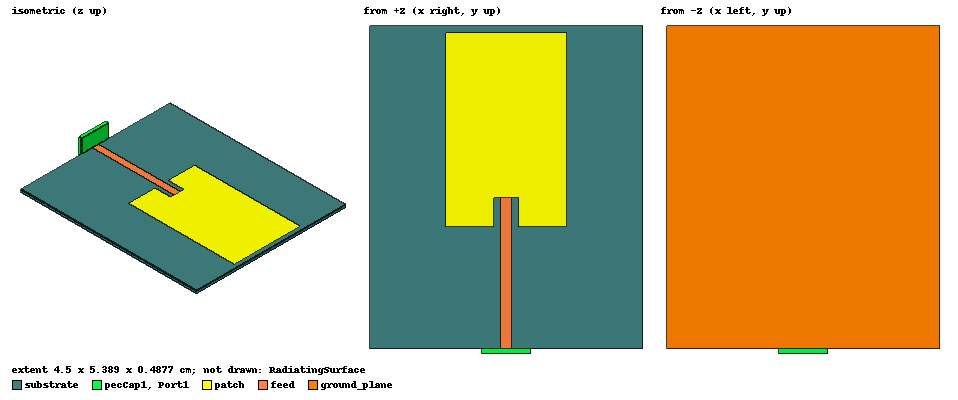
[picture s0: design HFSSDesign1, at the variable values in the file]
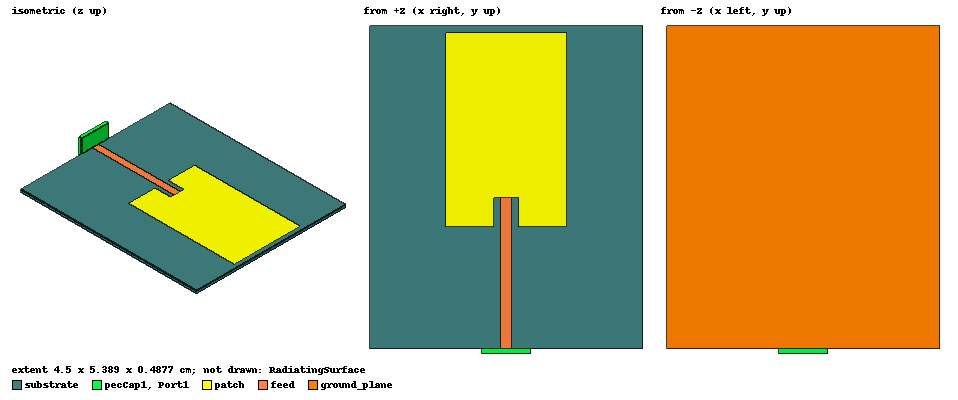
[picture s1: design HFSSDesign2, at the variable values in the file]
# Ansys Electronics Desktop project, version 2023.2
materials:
  vacuum: permittivity=1
  Rogers RO4003 (tm): permittivity=3.55 dielectric_loss_tangent=0.0027
  copper: permeability=0.999991 conductivity=58000000
  pec: conductivity=1e+30

design HFSSDesign1 (HFSS, HFSS Terminal Network, model units cm)
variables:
  sub_w = lambda*0.75
  sub_length = (lambda/3)+p_y+a
  lambda = 2362.205mil
  mlin_width = 71.874803mil
  p_w = 19.88mm
  p_y = 31.806464mm  # optimise 300mil..900mil; tune 15.91mm..47.73mm
  inset_length = 184.84313mil  # optimise 93.5mil..280.5mil; tune 93.5mil..280.5mil
  inset_width = 2.1972535
  a = 1.18mm  # optimise 0.59mm..1.77mm
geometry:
  substrate [Rogers RO4003 (tm)] = box(corner=(0cm, 0cm, 0cm), size=(sub_w, sub_length, 0.08128cm))
  ground_plane = rectangle(corner=(0cm, 0cm, 0cm), x_size=sub_w, y_size=sub_length)
  feed [copper] = box(corner=((sub_w/2) - (mlin_width/2), 0cm, 0.08128cm), size=(mlin_width, (inset_length+lambda/3), 17um))
  patch [copper] = box(corner=((sub_w/2) - (p_w/2), (lambda/3), 0.08128cm), size=(p_w, p_y, 17um))
  Port1 = rectangle(corner=((sub_w/2)-(5*32mil), 0cm, 0cm), z_size=6*32mil, x_size=10*32mil)
  RadiatingSurface [vacuum] = region(absolute_offset: +X=2cm, -X=2cm, +Y=2cm, -Y=2cm, +Z=2cm, -Z=0)
  pecCap1 [pec] = sweep_along_normal(Port1.face(at (2.25, 0, 0.24384)), length=-0.09cm)
  inset = box(corner=((sub_w/2) - (mlin_width*inset_width/2), lambda/3, 0.08128cm), size=(mlin_width*inset_width, inset_length, 17um))
  patch.subtract(inset)
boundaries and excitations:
  PerfE1: Perfect E Objects=ground_plane
  Open1: Radiation Faces=RadiatingSurface.face(+z, -y, -x, +y, +x)
  Open_InfiniteGnd1: Perfect E Faces=RadiatingSurface.face(-z) InfGroundPlane
  1: Wave Port Objects=Port1 WavePortType=Modal NumModes=1 Modes{Mode1{CharImp=Zpi}}
  reference conductors: ground_plane
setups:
  Setup1: HfssDriven Frequency=5GHz MaxDeltaS=0.02 MaximumPasses=18 MinimumPasses=1 MinimumConvergedPasses=1 PercentRefinement=30 BasisOrder=1 PortAccuracy=2 DrivenSolverType="Direct Solver"
    sweep Sweep: 4GHz to 6GHz, 1600 points; Type=Fast SaveFields
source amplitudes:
  1:1: 1V 0deg
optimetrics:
  ParametricSetup1: Parametric Sim._Setups=[Setup1]
    sweep inset_width: LIN 1.2 3.6 5
    sweep inset_length: LIN 300mil 900mil 5mil
    sweep p_y: LIN 300mm 900mm 5mm
  OptimizationSetup1: Optimization Optimizer="kDX ASO" AnalysisStopOptions{StopForNumIteration MaxNumIteration=48 MinNumIteration=10} CostFuncNormType=L2 Acceptable_Cost=0 Noise=0.0001 UpdateDesignWhenDone
    vary inset_length: Min=175mil Max=190mil MinStep=1.87mil MaxStep=18.7mil MinFocus=93.5mil MaxFocus=280.5mil start=187mil
    vary p_y: Min=29mm Max=32mm MinStep=6mil MaxStep=60mil MinFocus=300mil MaxFocus=900mil start=31.82mm
    goal dB(St(1,1)) <= -20 weight 1 on Setup1 : Sweep at Freq 4.95GHz to 5.05GHz
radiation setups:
  3D: Infinite Sphere Theta=0deg..180deg step 2deg Phi=-180deg..180deg step 2deg
  Elevation: Infinite Sphere Theta=-180deg..180deg step 1deg Phi=0deg..90deg step 90deg
  Azimuth: Infinite Sphere Theta=90deg..90deg step 0deg Phi=-180deg..180deg step 1deg
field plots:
  Mag_E1: E Field over patch.face(+z, -z, -x, +y, +x) on Setup1 : LastAdaptive at Freq=5GHz Phase=0deg
  Mag_E2: E Field over feed.face(all 6) on Setup1 : LastAdaptive at Freq=5GHz Phase=0deg
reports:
  Terminal S Parameter Plot 1: dB(St(1,1)) vs Freq on Setup1 : Sweep; markers m1 at 4.9981238GHz, MY1 at y=-10
  Gain Plot 1: dB10normalize(GainPhi) vs Phi, Theta on Setup1 : LastAdaptive, 3D [Freq=5GHz]
  Antenna Params Table 1: PeakGain, TotalEfficiency, RadiationEfficiency, dB(PeakDirectivity) vs Freq on Setup1 : LastAdaptive

design HFSSDesign2 (HFSS, HFSS Terminal Network, model units cm)
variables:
  sub_w = lambda*0.75
  sub_length = (lambda/3)+p_y+a
  lambda = 2362.205mil
  mlin_width = 71.874803mil
  p_w = 19.88mm
  p_y = 31.806464mm  # optimise 300mil..900mil; tune 15.91mm..47.73mm
  inset_length = 184.84313mil  # optimise 93.5mil..280.5mil; tune 93.5mil..280.5mil
  inset_width = 2.1972535
  a = 1.18mm  # optimise 0.59mm..1.77mm
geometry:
  substrate [Rogers RO4003 (tm)] = box(corner=(0cm, 0cm, 0cm), size=(sub_w, sub_length, 0.08128cm))
  ground_plane = rectangle(corner=(0cm, 0cm, 0cm), x_size=sub_w, y_size=sub_length)
  feed [copper] = box(corner=((sub_w/2) - (mlin_width/2), 0cm, 0.08128cm), size=(mlin_width, inset_length+lambda/3, 17um))
  patch [copper] = box(corner=((sub_w/2) - (p_w/2), (lambda/3), 0.08128cm), size=(p_w, p_y, 17um))
  Port1 = rectangle(corner=((sub_w/2)-(5*32mil), 0cm, 0cm), z_size=6*32mil, x_size=10*32mil)
  RadiatingSurface [vacuum] = region(absolute_offset: +X=2cm, -X=2cm, +Y=2cm, -Y=2cm, +Z=2cm, -Z=0)
  pecCap1 [pec] = sweep_along_normal(Port1.face(at (2.25, 0, 0.24384)), length=-0.09cm)
  inset = box(corner=((sub_w/2) - (mlin_width*inset_width/2), lambda/3, 0.08128cm), size=(mlin_width*inset_width, inset_length, 17um))
  patch.subtract(inset)
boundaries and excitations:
  PerfE1: Perfect E Objects=ground_plane
  Open1: Radiation Faces=RadiatingSurface.face(+z, -y, -x, +y, +x)
  Open_InfiniteGnd1: Perfect E Faces=RadiatingSurface.face(-z) InfGroundPlane
  1: Wave Port Objects=Port1 WavePortType=Modal NumModes=1 Modes{Mode1{CharImp=Zpi}}
  reference conductors: ground_plane
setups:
  Setup1: HfssDriven Frequency=5GHz MaxDeltaS=0.02 MaximumPasses=18 MinimumPasses=1 MinimumConvergedPasses=1 PercentRefinement=30 BasisOrder=1 PortAccuracy=2 DrivenSolverType="Direct Solver"
    sweep Sweep: 4GHz to 6GHz, 1600 points; Type=Fast SaveFields
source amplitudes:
  1:1: 1V 0deg
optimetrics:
  ParametricSetup1: Parametric Sim._Setups=[Setup1]
    sweep inset_width: LIN 1.2 3.6 5
    sweep inset_length: LIN 300mil 900mil 5mil
    sweep p_y: LIN 300mm 900mm 5mm
  OptimizationSetup1: Optimization Optimizer="kDX ASO" AnalysisStopOptions{StopForNumIteration MaxNumIteration=48 MinNumIteration=10} CostFuncNormType=L2 Acceptable_Cost=0 Noise=0.0001 UpdateDesignWhenDone
    vary inset_length: Min=175mil Max=190mil MinStep=1.87mil MaxStep=18.7mil MinFocus=93.5mil MaxFocus=280.5mil start=187mil
    vary p_y: Min=29mm Max=32mm MinStep=6mil MaxStep=60mil MinFocus=300mil MaxFocus=900mil start=31.82mm
    goal dB(St(1,1)) <= -20 weight 1 on Setup1 : Sweep at Freq 4.95GHz to 5.05GHz
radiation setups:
  3D: Infinite Sphere Theta=0deg..180deg step 2deg Phi=-180deg..180deg step 2deg
  Elevation: Infinite Sphere Theta=-180deg..180deg step 1deg Phi=0deg..90deg step 90deg
  Azimuth: Infinite Sphere Theta=90deg..90deg step 0deg Phi=-180deg..180deg step 1deg
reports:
  Terminal S Parameter Plot 1: dB(St(1,1)) vs Freq on Setup1 : Sweep; markers m1 at 5.003127GHz, MY1 at y=-10
  Gain Plot 1: dB10normalize(GainPhi) vs Phi, Theta on Setup1 : LastAdaptive, 3D [Freq=5GHz]
  Antenna Params Table 1: PeakGain, TotalEfficiency, RadiationEfficiency, dB(PeakDirectivity) vs Freq on Setup1 : LastAdaptive
